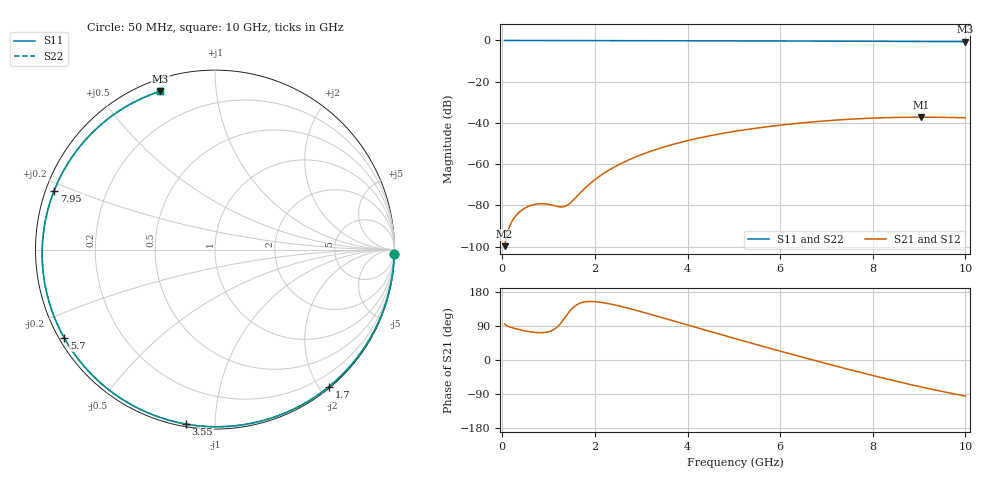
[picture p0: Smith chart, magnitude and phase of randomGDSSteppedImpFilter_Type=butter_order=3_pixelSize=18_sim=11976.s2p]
! freq	dB(S11)	phase(S11)	dB(S12)	phase(S12)
!  dB(S21)	phase(S21)	dB(S22)	phase(S22)
!S-par simulation data
#  GHz  S  DB  R 50
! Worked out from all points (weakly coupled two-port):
!   200 points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, 50 MHz to 10 GHz, reference 50 ohm
!   highest |S21| = -37.23 dB at 9.05 GHz (marker M1); lowest = -99.8 dB at 50 MHz (marker M2)
!   lowest |S11| = -0.6 dB at 10 GHz (marker M3), VSWR 29.08, Z = 2.59 + j35.6 ohm
!   |S11| at or under -10 dB: nowhere
!   |S22| runs from -0.6 to 0.0 dB; largest |S21 - S12| = 0
!   S11 on the Smith chart (normalised r, x): 50 MHz: 1, -78; 1.7 GHz: 0.02, -2.13; 3.55 GHz: 0.01, -0.85; 5.7 GHz: 0.01, -0.27; 7.95 GHz: 0.02, +0.18; 10 GHz: 0.05, +0.71
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0.05  -0.00 -1.5  -99.82 95.1  -99.82 95.1  -0.00 -1.5
0.6  -0.03 -18.1  -80.19 74.4  -80.19 74.4  -0.03 -18.1
0.7  -0.03 -21.1  -79.54 72.8  -79.54 72.8  -0.03 -21.1
0.85  -0.03 -25.6  -79.20 72.0  -79.20 72.0  -0.03 -25.6
1.1  -0.04 -33.0  -80.01 79.6  -80.01 79.6  -0.04 -33.0
1.4  -0.05 -41.7  -79.98 120.1  -79.98 120.1  -0.05 -41.7
1.7  -0.06 -50.3  -73.55 150.9  -73.55 150.9  -0.06 -50.3
1.75  -0.07 -51.7  -72.44 152.5  -72.44 152.5  -0.07 -51.7
2.05  -0.08 -60.1  -66.70 153.4  -66.70 153.4  -0.08 -60.1
2.45  -0.09 -71.1  -61.06 144.6  -61.06 144.6  -0.09 -71.0
2.9  -0.10 -83.0  -56.34 130.7  -56.34 130.7  -0.10 -82.9
3.4  -0.12 -95.7  -52.32 113.6  -52.32 113.6  -0.12 -95.7
3.55  -0.13 -99.4  -51.30 108.4  -51.30 108.4  -0.13 -99.4
4.25  -0.15 -116.4  -47.33 83.7  -47.33 83.7  -0.15 -116.4
5.05  -0.19 -134.9  -43.99 55.7  -43.99 55.7  -0.19 -134.9
5.7  -0.23 -149.5  -41.93 33.5  -41.93 33.5  -0.23 -149.5
6.7  -0.30 -171.8  -39.54 0.3  -39.54 0.3  -0.30 -171.7
7.35  -0.35 173.7  -38.43 -20.7  -38.43 -20.7  -0.35 173.7
7.95  -0.41 159.9  -37.72 -39.4  -37.72 -39.4  -0.41 159.9
8.35  -0.44 150.5  -37.43 -51.5  -37.43 -51.5  -0.44 150.5
9.05  -0.51 133.5  -37.23 -71.3  -37.23 -71.3  -0.51 133.5
10  -0.60 109.1  -37.52 -95.1  -37.52 -95.1  -0.60 109.1
